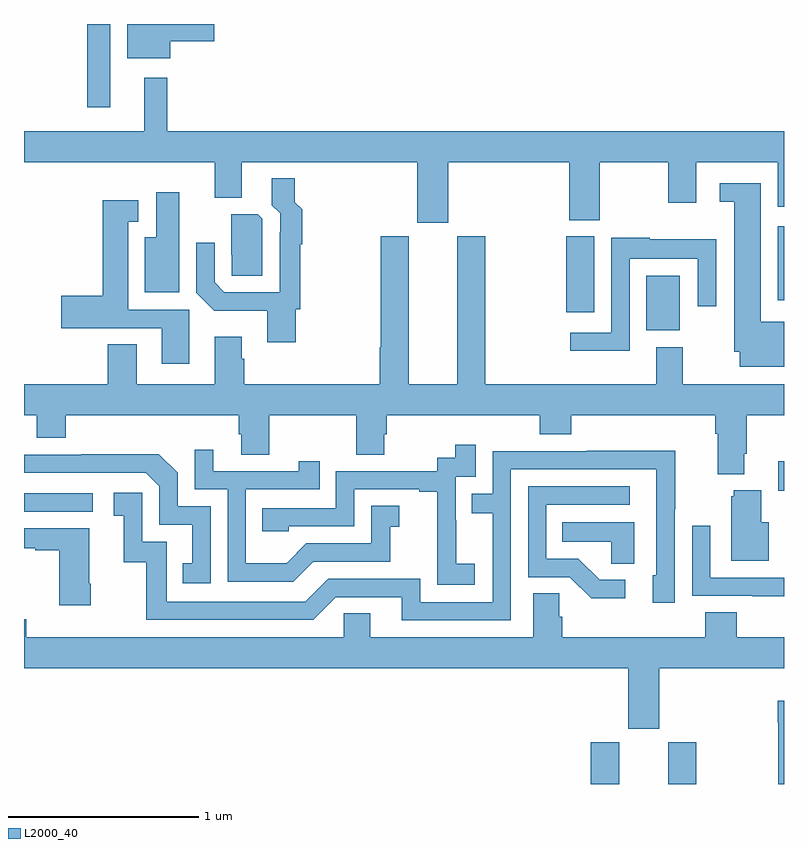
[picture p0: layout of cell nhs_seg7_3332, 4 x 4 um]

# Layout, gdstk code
import gdstk
lib = gdstk.Library(unit=1e-6, precision=1e-09)
def R(c, l, rs):  # rectangles x0, y0, x1, y1
    for r in rs: c.add(gdstk.rectangle(r[:2], r[2:], *l))
def P(c, l, *ps):  # polygons
    for p in ps: c.add(gdstk.Polygon(p, *l))
L2000_40 = (2000, 40)

nhs_seg7_3332 = lib.new_cell('nhs_seg7_3332')
R(nhs_seg7_3332, L2000_40, [(325.982,1008,326.134,1008.219), (326.39,1008,326.538,1008.219), (323,1009.434,323.362,1009.53), (326.969,1009.543,327,1009.699), (326.276,1010.387,326.452,1010.674), (325.855,1010.484,326.002,1010.883), (326.966,1010.547,327,1010.935), (323.334,1011.561,323.455,1012)])
P(nhs_seg7_3332, L2000_40, [(323.77,1011.91),(324.001,1011.91),(324.001,1012),(323.543,1012),(323.543,1011.821),(323.77,1011.821)],
  [(325.234,1011.272),(325.871,1011.272),(325.871,1010.968),(326.031,1010.968),(326.031,1011.272),(326.392,1011.272),(326.392,1011.06),(326.539,1011.06),(326.539,1011.272),(326.966,1011.272),(326.966,1011.039),(327,1011.039),(327,1011.436),(323.755,1011.436),(323.755,1011.718),(323.633,1011.718),(323.633,1011.436),(323,1011.436),(323,1011.272),(324.005,1011.272),(324.005,1011.085),(324.145,1011.085),(324.145,1011.272),(325.07,1011.272),(325.07,1010.955),(325.234,1010.955)],
  [(324.429,1010.499),(324.454,1010.499),(324.454,1010.842),(324.464,1010.842),(324.464,1011.024),(324.425,1011.063),(324.425,1011.187),(324.305,1011.187),(324.305,1011.046),(324.348,1011.003),(324.348,1010.903),(324.345,1010.903),(324.345,1010.589),(324.054,1010.589),(324.003,1010.64),(324.003,1010.848),(323.907,1010.848),(323.907,1010.586),(324.001,1010.492),(324.281,1010.492),(324.281,1010.325),(324.429,1010.325)],
  [(326.981,1010.196),(327,1010.196),(327,1010.434),(326.878,1010.434),(326.878,1011.162),(326.661,1011.162),(326.661,1011.065),(326.738,1011.065),(326.738,1010.276),(326.768,1010.276),(326.768,1010.195),(326.981,1010.195)],
  [(323.818,1011.115),(323.696,1011.115),(323.696,1010.878),(323.636,1010.878),(323.636,1010.588),(323.818,1010.588)],
  [(323.869,1010.496),(323.548,1010.496),(323.548,1010.96),(323.602,1010.96),(323.602,1011.073),(323.414,1011.073),(323.414,1010.57),(323.196,1010.57),(323.196,1010.399),(323.457,1010.399),(323.457,1010.4),(323.726,1010.4),(323.726,1010.211),(323.869,1010.211)],
  [(324.255,1010.976),(324.231,1011),(324.092,1011),(324.092,1010.785),(324.093,1010.785),(324.093,1010.674),(324.255,1010.674)],
  [(326.791,1009.738),(326.804,1009.738),(326.804,1009.94),(327,1009.94),(327,1010.104),(326.467,1010.104),(326.467,1010.299),(326.327,1010.299),(326.327,1010.104),(325.428,1010.104),(325.428,1010.883),(325.28,1010.883),(325.28,1010.104),(325.024,1010.104),(325.024,1010.883),(324.877,1010.883),(324.877,1010.3),(324.872,1010.3),(324.872,1010.104),(324.158,1010.104),(324.158,1010.237),(324.145,1010.237),(324.145,1010.353),(324.005,1010.353),(324.005,1010.104),(323.593,1010.104),(323.593,1010.314),(323.441,1010.314),(323.441,1010.104),(323,1010.104),(323,1009.94),(323.066,1009.94),(323.066,1009.823),(323.219,1009.823),(323.219,1009.94),(324.131,1009.94),(324.131,1009.842),(324.143,1009.842),(324.143,1009.732),(324.291,1009.732),(324.291,1009.94),(324.748,1009.94),(324.748,1009.732),(324.895,1009.732),(324.895,1009.842),(324.908,1009.842),(324.908,1009.94),(325.715,1009.94),(325.715,1009.841),(325.88,1009.841),(325.88,1009.94),(326.639,1009.94),(326.639,1009.844),(326.651,1009.844),(326.651,1009.631),(326.791,1009.631)],
  [(326.187,1010.765),(326.547,1010.765),(326.547,1010.514),(326.643,1010.514),(326.643,1010.866),(326.294,1010.866),(326.294,1010.876),(326.091,1010.876),(326.091,1010.376),(325.875,1010.376),(325.875,1010.279),(326.187,1010.279)],
  [(325.372,1009.159),(325.274,1009.159),(325.274,1009.388),(325.272,1009.388),(325.272,1009.617),(325.377,1009.617),(325.377,1009.786),(325.269,1009.786),(325.269,1009.716),(325.176,1009.716),(325.176,1009.647),(324.642,1009.647),(324.642,1009.452),(324.253,1009.452),(324.253,1009.329),(324.393,1009.329),(324.393,1009.356),(324.738,1009.356),(324.738,1009.551),(325.079,1009.551),(325.079,1009.539),(325.175,1009.539),(325.175,1009.255),(325.174,1009.255),(325.174,1009.049),(325.372,1009.049)],
  [(324.523,1009.17),(324.927,1009.17),(324.927,1009.355),(324.976,1009.355),(324.976,1009.465),(324.828,1009.465),(324.828,1009.266),(324.486,1009.266),(324.382,1009.162),(324.168,1009.162),(324.168,1009.551),(324.557,1009.551),(324.557,1009.699),(324.446,1009.699),(324.446,1009.647),(323.995,1009.647),(323.995,1009.759),(323.898,1009.759),(323.898,1009.551),(324.072,1009.551),(324.072,1009.065),(324.418,1009.065)],
  [(325.563,1009.656),(326.328,1009.656),(326.328,1009.098),(326.309,1009.098),(326.309,1008.954),(326.424,1008.954),(326.424,1009.447),(326.427,1009.447),(326.427,1009.754),(325.963,1009.754),(325.963,1009.752),(325.467,1009.752),(325.467,1009.527),(325.357,1009.527),(325.357,1009.426),(325.467,1009.426),(325.467,1008.957),(325.086,1008.957),(325.086,1009.08),(324.6,1009.08),(324.48,1008.96),(323.751,1008.96),(323.751,1009.275),(323.622,1009.275),(323.622,1009.534),(323.472,1009.534),(323.472,1009.413),(323.525,1009.413),(323.525,1009.167),(323.643,1009.167),(323.643,1008.864),(324.522,1008.864),(324.642,1008.984),(324.989,1008.984),(324.989,1008.861),(325.563,1008.861)],
  [(323.982,1009.461),(323.808,1009.461),(323.808,1009.638),(323.71,1009.736),(323.302,1009.736),(323.302,1009.734),(323,1009.734),(323,1009.638),(323.64,1009.638),(323.712,1009.566),(323.712,1009.365),(323.885,1009.365),(323.885,1009.161),(323.836,1009.161),(323.836,1009.056),(323.982,1009.056)],
  [(326.164,1009.074),(326.029,1009.074),(325.918,1009.185),(325.749,1009.185),(325.749,1009.47),(326.188,1009.47),(326.188,1009.566),(325.653,1009.566),(325.653,1009.089),(325.872,1009.089),(325.985,1008.977),(326.164,1008.977)],
  [(326.92,1009.378),(326.881,1009.378),(326.881,1009.546),(326.735,1009.546),(326.735,1009.515),(326.723,1009.515),(326.723,1009.175),(326.92,1009.175)],
  [(326.212,1009.378),(325.834,1009.378),(325.834,1009.274),(326.091,1009.274),(326.091,1009.159),(326.212,1009.159)],
  [(327,1009.086),(326.613,1009.086),(326.613,1009.36),(326.517,1009.36),(326.517,1008.99),(326.833,1008.99),(326.833,1008.989),(327,1008.989)],
  [(323.352,1009.054),(323.344,1009.054),(323.344,1009.345),(323,1009.345),(323,1009.241),(323.06,1009.241),(323.06,1009.231),(323.186,1009.231),(323.186,1008.942),(323.352,1008.942)],
  [(326.18,1008.291),(326.344,1008.291),(326.344,1008.608),(327,1008.608),(327,1008.772),(326.75,1008.772),(326.75,1008.905),(326.585,1008.905),(326.585,1008.772),(325.832,1008.772),(325.832,1008.881),(325.818,1008.881),(325.818,1009.004),(325.679,1009.004),(325.679,1008.772),(324.823,1008.772),(324.823,1008.899),(324.684,1008.899),(324.684,1008.772),(323.012,1008.772),(323.012,1008.868),(323,1008.868),(323,1008.608),(326.18,1008.608)],
  [(327,1008.439),(326.966,1008.439),(326.966,1008.326),(326.971,1008.326),(326.971,1008),(327,1008)])

lib.write_gds('nhs_seg7_3332.gds')
